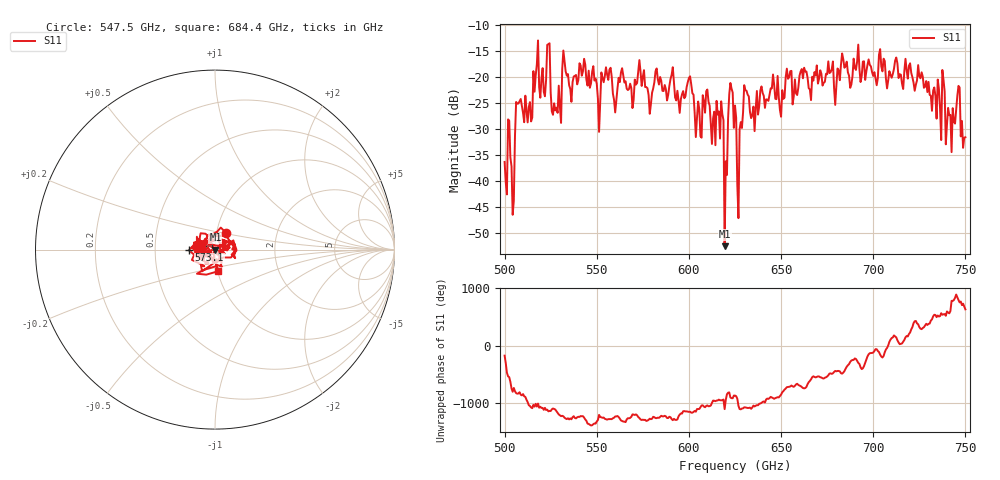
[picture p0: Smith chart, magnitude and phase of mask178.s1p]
!Created with skrf (http://scikit-rf.org).
# GHz S MA R 50.0
!freq magS11 angS11
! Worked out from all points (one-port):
!   401 points, 500 GHz to 750 GHz, reference 50 ohm
!   lowest |S11| = -52.4 dB at 619.4 GHz (marker M1), VSWR 1.00, Z = 50.2 - j0.0936 ohm
!   |S11| at or under -10 dB: start of sweep to end of sweep
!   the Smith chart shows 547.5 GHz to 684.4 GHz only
!   S11 on the Smith chart (normalised r, x): 547.5 GHz: 1.11, +0.21; 573.1 GHz: 0.75, -0.01; 684.4 GHz: 1.00, -0.25
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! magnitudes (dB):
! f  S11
! 500 GHz  -36.3
! 504.4 GHz  -46.4
! 507.5 GHz  -25.1
! 513.8 GHz  -24.8
! 516.9 GHz  -19.7
! 523.8 GHz  -13.7
! 526.9 GHz  -25.1
! 531.2 GHz  -18.5
! 547.5 GHz  -19.0
! 562.5 GHz  -21.0
! 573.1 GHz  -16.8
! 593.8 GHz  -22.7
! 600 GHz  -20.2
! 616.2 GHz  -26.6
! 619.4 GHz  -52.4
! 620.6 GHz  -38.8
! 622.5 GHz  -21.2
! 625 GHz  -25.5
! 627.5 GHz  -30.0
! 631.2 GHz  -22.7
! 634.4 GHz  -27.3
! 656.2 GHz  -25.3
! 684.4 GHz  -18.2
! 687.5 GHz  -22.1
! 718.8 GHz  -20.3
! 741.2 GHz  -27.3
! 745.6 GHz  -23.6
! 750 GHz  -31.6
